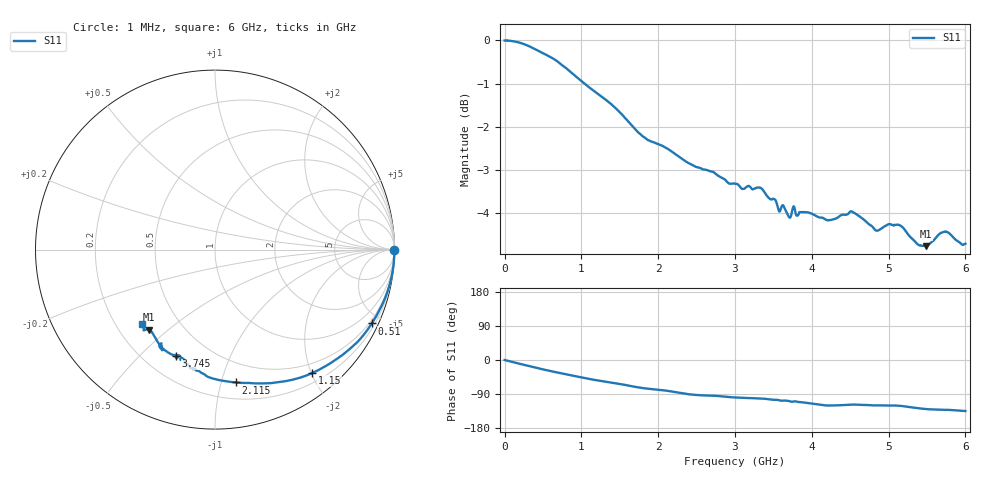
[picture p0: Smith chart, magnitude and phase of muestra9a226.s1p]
! COPPER MOUNTAIN TECHNOLOGIES, R60, 23103002, 24.3.3/3.0
! Date: 23/10/2026 12:20:36
! Data: Format [Calibration Info]
! Frequency		S11: Re/Im RO
# HZ S RI R 50
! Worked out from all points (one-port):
!   1280 points, 1 MHz to 6 GHz, reference 50 ohm
!   lowest |S11| = -4.8 dB at 5.485 GHz (marker M1), VSWR 3.73, Z = 16.2 - j21.6 ohm
!   |S11| at or under -10 dB: nowhere
!   S11 on the Smith chart (normalised r, x): 1 MHz: open; 510 MHz: 0.37, -4.44; 1.15 GHz: 0.34, -2.01; 2.115 GHz: 0.33, -1.11; 3.745 GHz: 0.33, -0.65; 6 GHz: 0.31, -0.38
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1000000  0.9999 -0.000676
2.35e8  0.9703 -0.2042
5.1e8  0.8735 -0.4111
7.55e8  0.759 -0.5465
9.75e8  0.6392 -0.6354
1.15e9  0.542 -0.6875
1.505e9  0.3706 -0.7366
1.78e9  0.2199 -0.7449
2.115e9  0.1157 -0.7401
2.255e9  0.0538 -0.7325
2.47e9  -0.0232 -0.7142
2.755e9  -0.0562 -0.6971
3.005e9  -0.1069 -0.6728
3.335e9  -0.1371 -0.6599
3.61e9  -0.1936 -0.6122
3.68e9  -0.1896 -0.6001
3.745e9  -0.219 -0.5949
3.755e9  -0.2192 -0.6008
3.805e9  -0.2134 -0.5882
4.175e9  -0.3074 -0.5383
4.29e9  -0.3085 -0.5378
4.505e9  -0.2956 -0.5597
4.835e9  -0.2984 -0.5222
5.12e9  -0.3094 -0.5269
5.255e9  -0.3298 -0.4952
5.485e9  -0.366 -0.4458
5.76e9  -0.3971 -0.4488
6e9  -0.4076 -0.4135
